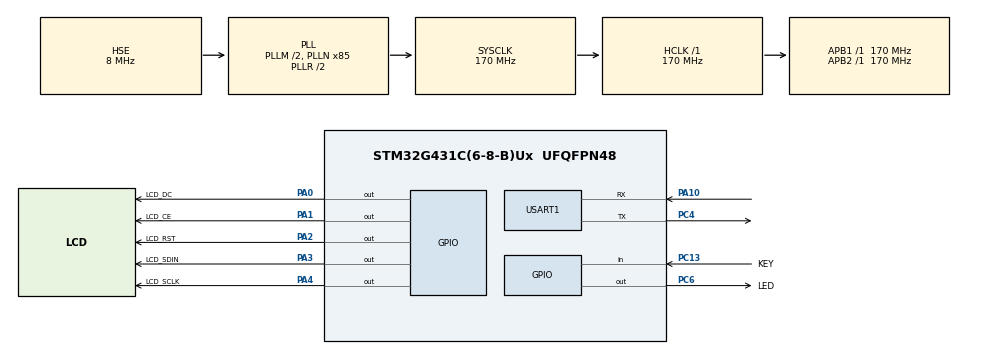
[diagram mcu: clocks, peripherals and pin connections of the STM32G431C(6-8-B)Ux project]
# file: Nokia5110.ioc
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Mcu.Family=STM32G4
Mcu.Name=STM32G431C(6-8-B)Ux
Mcu.Package=UFQFPN48
NVIC.PriorityGroup=NVIC_PRIORITYGROUP_4
PA0.GPIO_Label=LCD_DC
PA0.Signal=GPIO_Output
PA1.GPIO_Label=LCD_CE
PA1.Signal=GPIO_Output
PA10.Mode=Asynchronous
PA10.Signal=USART1_RX
PA13.Mode=Trace_Asynchronous_SW
PA13.Signal=SYS_JTMS-SWDIO
PA14.Mode=Trace_Asynchronous_SW
PA14.Signal=SYS_JTCK-SWCLK
PA2.GPIO_Label=LCD_RST
PA2.Signal=GPIO_Output
PA3.GPIO_Label=LCD_SDIN
PA3.Signal=GPIO_Output
PA4.GPIO_Label=LCD_SCLK
PA4.Signal=GPIO_Output
PB3.Mode=Trace_Asynchronous_SW
PB3.Signal=SYS_JTDO-SWO
PC13.GPIO_Label=KEY
PC13.GPIO_PuPd=GPIO_PULLDOWN
PC13.Signal=GPIO_Input
PC4.Mode=Asynchronous
PC4.Signal=USART1_TX
PC6.GPIO_Label=LED
PC6.GPIO_ModeDefaultOutputPP=GPIO_MODE_OUTPUT_PP
PC6.GPIO_Speed=GPIO_SPEED_FREQ_LOW
PC6.PinState=GPIO_PIN_RESET
PC6.Signal=GPIO_Output
PF0-OSC_IN.Mode=HSE-External-Oscillator
PF0-OSC_IN.Signal=RCC_OSC_IN
PF1-OSC_OUT.Mode=HSE-External-Oscillator
PF1-OSC_OUT.Signal=RCC_OSC_OUT
ProjectManager.HeapSize=0x200
ProjectManager.StackSize=0x400
ProjectManager.TargetToolchain=STM32CubeIDE
RCC.ADC12Freq_Value=170000000
RCC.AHBFreq_Value=170000000
RCC.APB1Freq_Value=170000000
RCC.APB1TimFreq_Value=170000000
RCC.APB2Freq_Value=170000000
RCC.APB2TimFreq_Value=170000000
RCC.CortexFreq_Value=170000000
RCC.EXTERNAL_CLOCK_VALUE=12288000
RCC.HCLKFreq_Value=170000000
RCC.HSE_VALUE=8000000
RCC.HSI48_VALUE=48000000
RCC.HSI_VALUE=16000000
RCC.LSE_VALUE=32768
RCC.PLLM=RCC_PLLM_DIV2
RCC.PLLN=85
RCC.PLLSourceVirtual=RCC_PLLSOURCE_HSE
RCC.SYSCLKFreq_VALUE=170000000
RCC.SYSCLKSource=RCC_SYSCLKSOURCE_PLLCLK
RCC.USBFreq_Value=170000000
RCC.VCOOutputFreq_Value=340000000
USART1.VirtualMode-Asynchronous=VM_ASYNC
VP_SYS_VS_DBSignals.Mode=DisableDeadBatterySignals
board=custom

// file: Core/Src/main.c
/* USER CODE BEGIN Header */
/**
  ******************************************************************************
  * @file           : main.c
  * @brief          : Main program body
  ******************************************************************************
  * @attention
  *
  * Copyright (c) 2025 STMicroelectronics.
  * All rights reserved.
  *
  * This software is licensed under terms that can be found in the LICENSE file
  * in the root directory of this software component.
  * If no LICENSE file comes with this software, it is provided AS-IS.
  *
  ******************************************************************************
  */
/* USER CODE END Header */
#include "main.h"

/* USER CODE BEGIN Includes */

#include "n3310.h"
#include "picture.h"

/* USER CODE END Includes */

UART_HandleTypeDef huart1;

void SystemClock_Config(void);
static void MX_GPIO_Init(void);
static void MX_USART1_UART_Init(void);

int main(void)
{

  /* USER CODE BEGIN 1 */

	N3310Struct Display;

	Display.DC_Port = LCD_DC_GPIO_Port;
	Display.DC_Pin = LCD_DC_Pin;

	Display.CE_Port = LCD_CE_GPIO_Port;
	Display.CE_Pin = LCD_CE_Pin;

	Display.RST_Port = LCD_RST_GPIO_Port;
	Display.RST_Pin = LCD_RST_Pin;

	Display.SDIN_Port = LCD_SDIN_GPIO_Port;
	Display.SDIN_Pin = LCD_SDIN_Pin;

	Display.SCLK_Port = GPIOA;
	Display.SCLK_Pin = LCD_SCLK_Pin;

  /* USER CODE END 1 */

  /* MCU Configuration--------------------------------------------------------*/

  /* Reset of all peripherals, Initializes the Flash interface and the Systick. */
  HAL_Init();

  /* Configure the system clock */
  SystemClock_Config();

  /* Initialize all configured peripherals */
  MX_GPIO_Init();
  MX_USART1_UART_Init();
  /* USER CODE BEGIN 2 */

  LCD_Init(&Display);
  LCD_Clear(&Display);

  // Draw Pixels
  for (uint8_t x=0; x< LCD_X_RES; x+=4) {
	  for (uint8_t y=0; y< LCD_Y_RES; y+=4) {
		  LCD_DrawPixel(&Display, x, y, PIXEL_ON);
	  }
  }
  LCD_Update(&Display);
  HAL_Delay(3000);

  // Draw Lines
  LCD_Clear(&Display);
  LCD_DrawLine(&Display, 0, 0, LCD_X_RES-1, LCD_Y_RES-1, PIXEL_ON);
  LCD_DrawLine(&Display, 0, LCD_Y_RES-1, LCD_X_RES-1, 0, PIXEL_ON);
  LCD_Update(&Display);
  HAL_Delay(3000);

  // Draw Circles
  LCD_Clear(&Display);
  LCD_DrawCircle(&Display, LCD_X_RES/2, LCD_Y_RES/2, 10, PIXEL_ON);
  LCD_DrawCircle(&Display, LCD_X_RES/2, LCD_Y_RES/2, 15, PIXEL_ON);
  LCD_DrawCircle(&Display, LCD_X_RES/2, LCD_Y_RES/2, 20, PIXEL_ON);
  LCD_Update(&Display);
  HAL_Delay(3000);

  // Draw Rectangles
  LCD_Clear(&Display);
  LCD_DrawRect(&Display, 10,10,LCD_X_RES-10,LCD_Y_RES-10, PIXEL_ON);
  LCD_DrawRect(&Display, 0,0,24,24, PIXEL_ON);
  LCD_DrawRect(&Display, LCD_X_RES-24,LCD_Y_RES-24,LCD_X_RES-1,LCD_Y_RES-1, PIXEL_ON);
  LCD_Update(&Display);
  HAL_Delay(3000);

  //Print Text
  uint8_t buf[] = " Hello!";
  LCD_Clear(&Display);
  LCD_SetTextPos(&Display, 0, 0);
  LCD_Print(&Display, buf, FONT_1X); // Font Size 1
  LCD_Update(&Display);
  //HAL_Delay(3000);

  LCD_SetTextPos(&Display, 0, 2);
  LCD_Print(&Display, buf, FONT_2X); // Font Size 2
  LCD_Update(&Display);
  HAL_Delay(3000);

  //Print Numbers
  uint8_t bufNumbers[] = "3.45";
  LCD_Clear(&Display);
  LCD_SetTextPos(&Display, 0, 1);
  LCD_Print(&Display, bufNumbers, FONT_2X); // Font Size 2
  LCD_Update(&Display);
  HAL_Delay(3000);

  LCD_Clear(&Display);
  LCD_SetTextPos(&Display, 0, 2);
  LCD_Print(&Display, bufNumbers, FONT_4X); // Font Size 4
  LCD_Update(&Display);
  HAL_Delay(3000);

  //Menu
  uint8_t items[4][8]= {" Item 1\0", " Item 2\0", " Item 3\0", " Item 4\0"} ;

  for (uint8_t item=0; item<4; item++) {
	  LCD_Clear(&Display);

	  for (uint8_t i=0; i<4; i++) {
		  LCD_SetTextPos(&Display, 0, i);
		  LCD_Print(&Display, items[i], FONT_1X);
	  }

	  LCD_SetTextPos(&Display, 0, item);
	  LCD_Chr(&Display, '>', FONT_1X);
	  LCD_IvertLine(&Display, item);

	  LCD_Update(&Display);
	  HAL_Delay(1000);
  }

  //Draw Image
  LCD_Image(&Display, Picture);
  LCD_Update(&Display);

  /* USER CODE END 2 */

  /* Infinite loop */
  while (1)
  {

  }
}

void SystemClock_Config(void)
{
  RCC_OscInitTypeDef RCC_OscInitStruct = {0};
  RCC_ClkInitTypeDef RCC_ClkInitStruct = {0};

  /** Configure the main internal regulator output voltage
  */
  HAL_PWREx_ControlVoltageScaling(PWR_REGULATOR_VOLTAGE_SCALE1_BOOST);

  /** Initializes the RCC Oscillators according to the specified parameters
  * in the RCC_OscInitTypeDef structure.
  */
  RCC_OscInitStruct.OscillatorType = RCC_OSCILLATORTYPE_HSE;
  RCC_OscInitStruct.HSEState = RCC_HSE_ON;
  RCC_OscInitStruct.PLL.PLLState = RCC_PLL_ON;
  RCC_OscInitStruct.PLL.PLLSource = RCC_PLLSOURCE_HSE;
  RCC_OscInitStruct.PLL.PLLM = RCC_PLLM_DIV2;
  RCC_OscInitStruct.PLL.PLLN = 85;
  RCC_OscInitStruct.PLL.PLLP = RCC_PLLP_DIV2;
  RCC_OscInitStruct.PLL.PLLQ = RCC_PLLQ_DIV2;
  RCC_OscInitStruct.PLL.PLLR = RCC_PLLR_DIV2;
  if (HAL_RCC_OscConfig(&RCC_OscInitStruct) != HAL_OK)
  {
    Error_Handler();
  }

  /** Initializes the CPU, AHB and APB buses clocks
  */
  RCC_ClkInitStruct.ClockType = RCC_CLOCKTYPE_HCLK|RCC_CLOCKTYPE_SYSCLK
                              |RCC_CLOCKTYPE_PCLK1|RCC_CLOCKTYPE_PCLK2;
  RCC_ClkInitStruct.SYSCLKSource = RCC_SYSCLKSOURCE_PLLCLK;
  RCC_ClkInitStruct.AHBCLKDivider = RCC_SYSCLK_DIV1;
  RCC_ClkInitStruct.APB1CLKDivider = RCC_HCLK_DIV1;
  RCC_ClkInitStruct.APB2CLKDivider = RCC_HCLK_DIV1;

  if (HAL_RCC_ClockConfig(&RCC_ClkInitStruct, FLASH_LATENCY_4) != HAL_OK)
  {
    Error_Handler();
  }
}

static void MX_USART1_UART_Init(void)
{

  huart1.Instance = USART1;
  huart1.Init.BaudRate = 115200;
  huart1.Init.WordLength = UART_WORDLENGTH_8B;
  huart1.Init.StopBits = UART_STOPBITS_1;
  huart1.Init.Parity = UART_PARITY_NONE;
  huart1.Init.Mode = UART_MODE_TX_RX;
  huart1.Init.HwFlowCtl = UART_HWCONTROL_NONE;
  huart1.Init.OverSampling = UART_OVERSAMPLING_16;
  huart1.Init.OneBitSampling = UART_ONE_BIT_SAMPLE_DISABLE;
  huart1.Init.ClockPrescaler = UART_PRESCALER_DIV1;
  huart1.AdvancedInit.AdvFeatureInit = UART_ADVFEATURE_NO_INIT;
  if (HAL_UART_Init(&huart1) != HAL_OK)
  {
    Error_Handler();
  }
  if (HAL_UARTEx_SetTxFifoThreshold(&huart1, UART_TXFIFO_THRESHOLD_1_8) != HAL_OK)
  {
    Error_Handler();
  }
  if (HAL_UARTEx_SetRxFifoThreshold(&huart1, UART_RXFIFO_THRESHOLD_1_8) != HAL_OK)
  {
    Error_Handler();
  }
  if (HAL_UARTEx_DisableFifoMode(&huart1) != HAL_OK)
  {
    Error_Handler();
  }

}

static void MX_GPIO_Init(void)
{
  GPIO_InitTypeDef GPIO_InitStruct = {0};

  /* GPIO Ports Clock Enable */
  __HAL_RCC_GPIOC_CLK_ENABLE();
  __HAL_RCC_GPIOF_CLK_ENABLE();
  __HAL_RCC_GPIOA_CLK_ENABLE();
  __HAL_RCC_GPIOB_CLK_ENABLE();

  /*Configure GPIO pin Output Level */
  HAL_GPIO_WritePin(GPIOA, LCD_DC_Pin|LCD_CE_Pin|LCD_RST_Pin|LCD_SDIN_Pin
                          |LCD_SCLK_Pin, GPIO_PIN_RESET);

  /*Configure GPIO pin Output Level */
  HAL_GPIO_WritePin(LED_GPIO_Port, LED_Pin, GPIO_PIN_RESET);

  /*Configure GPIO pin : KEY_Pin */
  GPIO_InitStruct.Pin = KEY_Pin;
  GPIO_InitStruct.Mode = GPIO_MODE_INPUT;
  GPIO_InitStruct.Pull = GPIO_PULLDOWN;
  HAL_GPIO_Init(KEY_GPIO_Port, &GPIO_InitStruct);

  /*Configure GPIO pins : LCD_DC_Pin LCD_CE_Pin LCD_RST_Pin LCD_SDIN_Pin
                           LCD_SCLK_Pin */
  GPIO_InitStruct.Pin = LCD_DC_Pin|LCD_CE_Pin|LCD_RST_Pin|LCD_SDIN_Pin
                          |LCD_SCLK_Pin;
  GPIO_InitStruct.Mode = GPIO_MODE_OUTPUT_PP;
  GPIO_InitStruct.Pull = GPIO_NOPULL;
  GPIO_InitStruct.Speed = GPIO_SPEED_FREQ_LOW;
  HAL_GPIO_Init(GPIOA, &GPIO_InitStruct);

  /*Configure GPIO pin : LED_Pin */
  GPIO_InitStruct.Pin = LED_Pin;
  GPIO_InitStruct.Mode = GPIO_MODE_OUTPUT_PP;
  GPIO_InitStruct.Pull = GPIO_NOPULL;
  GPIO_InitStruct.Speed = GPIO_SPEED_FREQ_LOW;
  HAL_GPIO_Init(LED_GPIO_Port, &GPIO_InitStruct);

}

void Error_Handler(void)
{
  __disable_irq();
  while (1)
  {
  }
}
